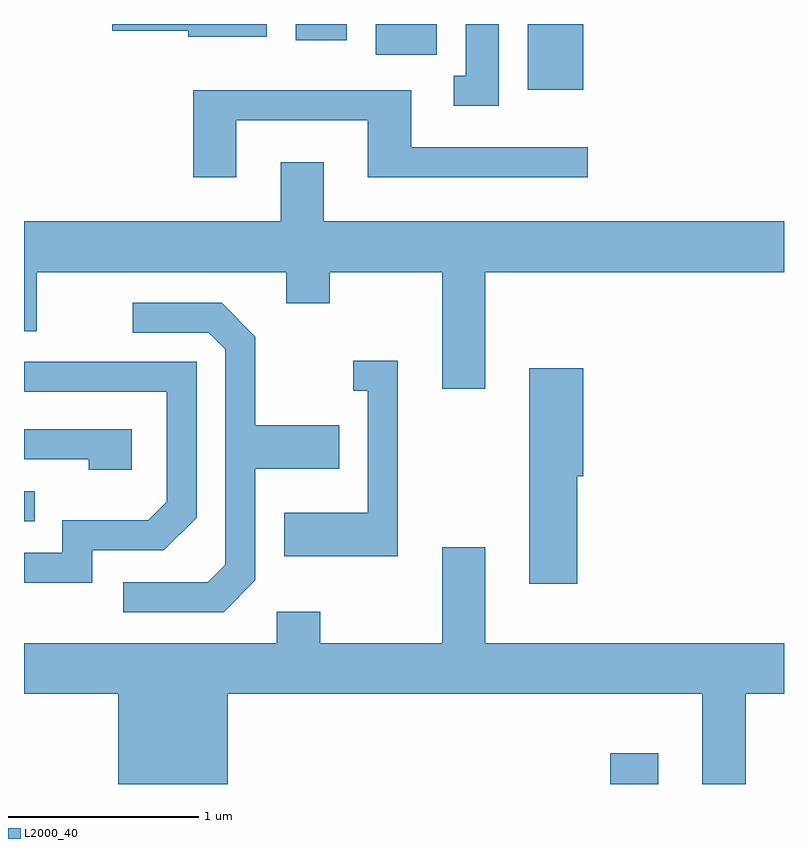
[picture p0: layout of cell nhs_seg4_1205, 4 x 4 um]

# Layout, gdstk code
import gdstk
lib = gdstk.Library(unit=1e-6, precision=1e-09)
def R(c, l, rs):  # rectangles x0, y0, x1, y1
    for r in rs: c.add(gdstk.rectangle(r[:2], r[2:], *l))
def P(c, l, *ps):  # polygons
    for p in ps: c.add(gdstk.Polygon(p, *l))
L2000_40 = (2000, 40)

nhs_seg4_1205 = lib.new_cell('nhs_seg4_1205')
R(nhs_seg4_1205, L2000_40, [(222.696,1351.982,222.949,1352.144), (219.611,1353.366,219.668,1353.524), (222.261,1355.636,222.554,1355.982), (221.461,1355.821,221.784,1355.982), (221.041,1355.896,221.309,1355.982)])
P(nhs_seg4_1205, L2000_40, [(222.109,1355.982),(221.936,1355.982),(221.936,1355.709),(221.873,1355.709),(221.873,1355.551),(222.109,1355.551)],
  [(220.889,1355.982),(220.076,1355.982),(220.076,1355.946),(220.476,1355.946),(220.476,1355.916),(220.889,1355.916)],
  [(220.729,1355.476),(221.421,1355.476),(221.421,1355.176),(222.578,1355.176),(222.578,1355.334),(221.649,1355.334),(221.649,1355.634),(220.501,1355.634),(220.501,1355.176),(220.729,1355.176)],
  [(222.039,1354.676),(223.611,1354.676),(223.611,1354.944),(221.189,1354.944),(221.189,1355.254),(220.961,1355.254),(220.961,1354.944),(219.611,1354.944),(219.611,1354.366),(219.679,1354.366),(219.679,1354.676),(220.991,1354.676),(220.991,1354.511),(221.219,1354.511),(221.219,1354.676),(221.811,1354.676),(221.811,1354.061),(222.039,1354.061)],
  [(220.829,1353.054),(220.829,1353.641),(221.269,1353.641),(221.269,1353.869),(220.829,1353.869),(220.829,1354.337),(220.652,1354.514),(220.183,1354.514),(220.183,1354.356),(220.584,1354.356),(220.671,1354.269),(220.671,1353.137),(220.579,1353.044),(220.133,1353.044),(220.133,1352.886),(220.662,1352.886)],
  [(221.579,1354.209),(221.343,1354.209),(221.343,1354.051),(221.421,1354.051),(221.421,1353.409),(220.981,1353.409),(220.981,1353.181),(221.579,1353.181)],
  [(219.969,1353.211),(220.347,1353.211),(220.519,1353.384),(220.519,1354.204),(219.611,1354.204),(219.611,1354.046),(220.361,1354.046),(220.361,1353.467),(220.264,1353.369),(219.811,1353.369),(219.811,1353.199),(219.611,1353.199),(219.611,1353.041),(219.969,1353.041)],
  [(222.524,1353.601),(222.554,1353.601),(222.554,1354.169),(222.271,1354.169),(222.271,1353.036),(222.524,1353.036)],
  [(220.179,1353.849),(219.611,1353.849),(219.611,1353.691),(219.951,1353.691),(219.951,1353.636),(220.179,1353.636)],
  [(220.684,1352.456),(223.181,1352.456),(223.181,1351.982),(223.409,1351.982),(223.409,1352.456),(223.611,1352.456),(223.611,1352.724),(222.039,1352.724),(222.039,1353.229),(221.811,1353.229),(221.811,1352.724),(221.169,1352.724),(221.169,1352.889),(220.941,1352.889),(220.941,1352.724),(219.611,1352.724),(219.611,1352.456),(220.106,1352.456),(220.106,1351.982),(220.684,1351.982)])

lib.write_gds('nhs_seg4_1205.gds')
